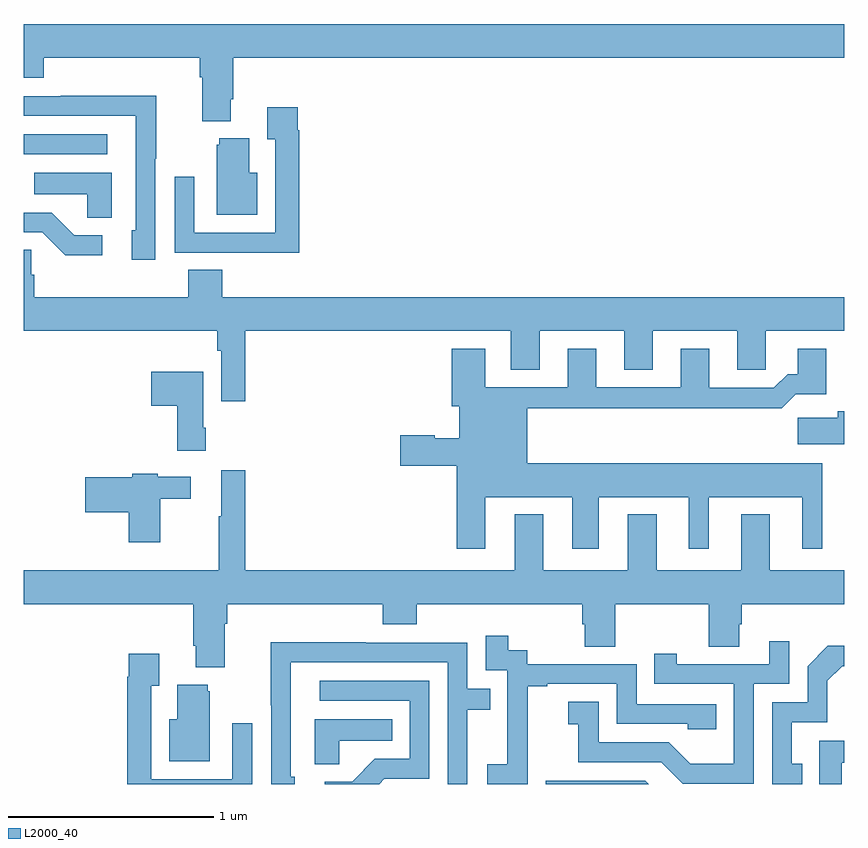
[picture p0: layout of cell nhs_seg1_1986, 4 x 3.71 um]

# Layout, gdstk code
import gdstk
lib = gdstk.Library(unit=1e-6, precision=1e-09)
def R(c, l, rs):  # rectangles x0, y0, x1, y1
    for r in rs: c.add(gdstk.rectangle(r[:2], r[2:], *l))
def P(c, l, *ps):  # polygons
    for p in ps: c.add(gdstk.Polygon(p, *l))
L2000_40 = (2000, 40)

nhs_seg1_1986 = lib.new_cell('nhs_seg1_1986')
R(nhs_seg1_1986, L2000_40, [(219,543.27,219.406,543.366)])
P(nhs_seg1_1986, L2000_40, [(220.009,543.538),(220.022,543.538),(220.022,543.74),(223,543.74),(223,543.904),(219,543.904),(219,543.641),(219.098,543.641),(219.098,543.74),(219.857,543.74),(219.857,543.644),(219.869,543.644),(219.869,543.431),(220.009,543.431)],
  [(219.642,543.247),(219.645,543.247),(219.645,543.554),(219.181,543.554),(219.181,543.552),(219,543.552),(219,543.456),(219.546,543.456),(219.546,542.898),(219.527,542.898),(219.527,542.754),(219.642,542.754)],
  [(220.343,543.386),(220.336,543.386),(220.336,543.499),(220.187,543.499),(220.187,543.343),(220.227,543.343),(220.227,542.886),(219.831,542.886),(219.831,543.16),(219.735,543.16),(219.735,542.79),(220.051,542.79),(220.051,542.789),(220.343,542.789)],
  [(220.138,543.178),(220.099,543.178),(220.099,543.346),(219.953,543.346),(219.953,543.315),(219.941,543.315),(219.941,542.975),(220.138,542.975)],
  [(219.43,543.178),(219.052,543.178),(219.052,543.074),(219.309,543.074),(219.309,542.959),(219.43,542.959)],
  [(219.382,542.874),(219.247,542.874),(219.136,542.985),(219,542.985),(219,542.889),(219.09,542.889),(219.203,542.777),(219.382,542.777)],
  [(220.079,542.408),(221.375,542.408),(221.375,542.218),(221.515,542.218),(221.515,542.408),(221.927,542.408),(221.927,542.218),(222.067,542.218),(222.067,542.408),(222.479,542.408),(222.479,542.218),(222.618,542.218),(222.618,542.408),(223,542.408),(223,542.572),(219.968,542.572),(219.968,542.705),(219.803,542.705),(219.803,542.572),(219.05,542.572),(219.05,542.681),(219.036,542.681),(219.036,542.804),(219,542.804),(219,542.408),(219.943,542.408),(219.943,542.312),(219.963,542.312),(219.963,542.064),(220.079,542.064)],
  [(221.251,541.598),(221.675,541.598),(221.675,541.347),(221.803,541.347),(221.803,541.598),(222.242,541.598),(222.242,541.347),(222.34,541.347),(222.34,541.598),(222.794,541.598),(222.794,541.347),(222.892,541.347),(222.892,541.762),(221.455,541.762),(221.455,542.032),(222.439,542.032),(222.439,542.03),(222.695,542.03),(222.764,542.099),(222.913,542.099),(222.913,542.32),(222.773,542.32),(222.773,542.197),(222.724,542.197),(222.657,542.13),(222.343,542.13),(222.343,542.32),(222.203,542.32),(222.203,542.133),(221.791,542.133),(221.791,542.32),(221.651,542.32),(221.651,542.133),(221.251,542.133),(221.251,542.32),(221.087,542.32),(221.087,542.04),(221.123,542.04),(221.123,541.885),(221.003,541.885),(221.003,541.898),(220.836,541.898),(220.836,541.751),(221.111,541.751),(221.111,541.347),(221.251,541.347)],
  [(219.887,541.936),(219.874,541.936),(219.874,542.209),(219.621,542.209),(219.621,542.042),(219.749,542.042),(219.749,541.824),(219.887,541.824)],
  [(223,542.017),(222.968,542.017),(222.968,541.985),(222.774,541.985),(222.774,541.856),(223,541.856)],
  [(219.979,540.98),(219.992,540.98),(219.992,541.076),(220.751,541.076),(220.751,540.977),(220.916,540.977),(220.916,541.076),(221.723,541.076),(221.723,540.978),(221.735,540.978),(221.735,540.868),(221.883,540.868),(221.883,541.076),(222.34,541.076),(222.34,540.868),(222.487,540.868),(222.487,540.978),(222.5,540.978),(222.5,541.076),(223,541.076),(223,541.24),(222.637,541.24),(222.637,541.513),(222.497,541.513),(222.497,541.24),(222.085,541.24),(222.085,541.513),(221.945,541.513),(221.945,541.24),(221.533,541.24),(221.533,541.513),(221.393,541.513),(221.393,541.24),(220.079,541.24),(220.079,541.729),(219.962,541.729),(219.962,541.505),(219.951,541.505),(219.951,541.24),(219,541.24),(219,541.076),(219.827,541.076),(219.827,540.874),(219.839,540.874),(219.839,540.767),(219.979,540.767)],
  [(219.666,541.59),(219.814,541.59),(219.814,541.698),(219.654,541.698),(219.654,541.711),(219.528,541.711),(219.528,541.694),(219.3,541.694),(219.3,541.523),(219.512,541.523),(219.512,541.377),(219.666,541.377)],
  [(221.457,540.391),(221.456,540.391),(221.456,540.675),(221.551,540.675),(221.551,540.687),(221.892,540.687),(221.892,540.492),(222.237,540.492),(222.237,540.465),(222.377,540.465),(222.377,540.588),(221.988,540.588),(221.988,540.783),(221.454,540.783),(221.454,540.852),(221.362,540.852),(221.362,540.922),(221.253,540.922),(221.253,540.753),(221.358,540.753),(221.358,540.524),(221.357,540.524),(221.357,540.295),(221.259,540.295),(221.259,540.199),(221.457,540.199)],
  [(222.558,540.687),(222.732,540.687),(222.732,540.895),(222.635,540.895),(222.635,540.783),(222.184,540.783),(222.184,540.835),(222.073,540.835),(222.073,540.687),(222.462,540.687),(222.462,540.298),(222.248,540.298),(222.144,540.402),(221.802,540.402),(221.802,540.601),(221.655,540.601),(221.655,540.491),(221.704,540.491),(221.704,540.306),(222.107,540.306),(222.212,540.201),(222.558,540.201)],
  [(220.321,540.234),(220.302,540.234),(220.302,540.792),(221.067,540.792),(221.067,540.199),(221.163,540.199),(221.163,540.562),(221.273,540.562),(221.273,540.663),(221.163,540.663),(221.163,540.888),(220.667,540.888),(220.667,540.89),(220.204,540.89),(220.204,540.583),(220.206,540.583),(220.206,540.199),(220.321,540.199)],
  [(222.794,540.297),(222.745,540.297),(222.745,540.501),(222.918,540.501),(222.918,540.702),(222.99,540.774),(223,540.774),(223,540.872),(222.92,540.872),(222.822,540.774),(222.822,540.597),(222.648,540.597),(222.648,540.199),(222.794,540.199)],
  [(220.113,540.496),(220.017,540.496),(220.017,540.222),(219.621,540.222),(219.621,540.679),(219.661,540.679),(219.661,540.835),(219.513,540.835),(219.513,540.722),(219.505,540.722),(219.505,540.199),(220.113,540.199)],
  [(220.758,540.225),(220.977,540.225),(220.977,540.702),(220.443,540.702),(220.443,540.606),(220.881,540.606),(220.881,540.321),(220.712,540.321),(220.601,540.21),(220.467,540.21),(220.467,540.199),(220.732,540.199)],
  [(219.907,540.651),(219.896,540.651),(219.896,540.682),(219.749,540.682),(219.749,540.514),(219.71,540.514),(219.71,540.311),(219.907,540.311)],
  [(220.539,540.41),(220.796,540.41),(220.796,540.514),(220.418,540.514),(220.418,540.295),(220.539,540.295)],
  [(222.988,540.303),(223,540.303),(223,540.411),(222.879,540.411),(222.879,540.199),(222.988,540.199)],
  [(222.03,540.216),(221.544,540.216),(221.544,540.199),(222.047,540.199)])

lib.write_gds('nhs_seg1_1986.gds')
